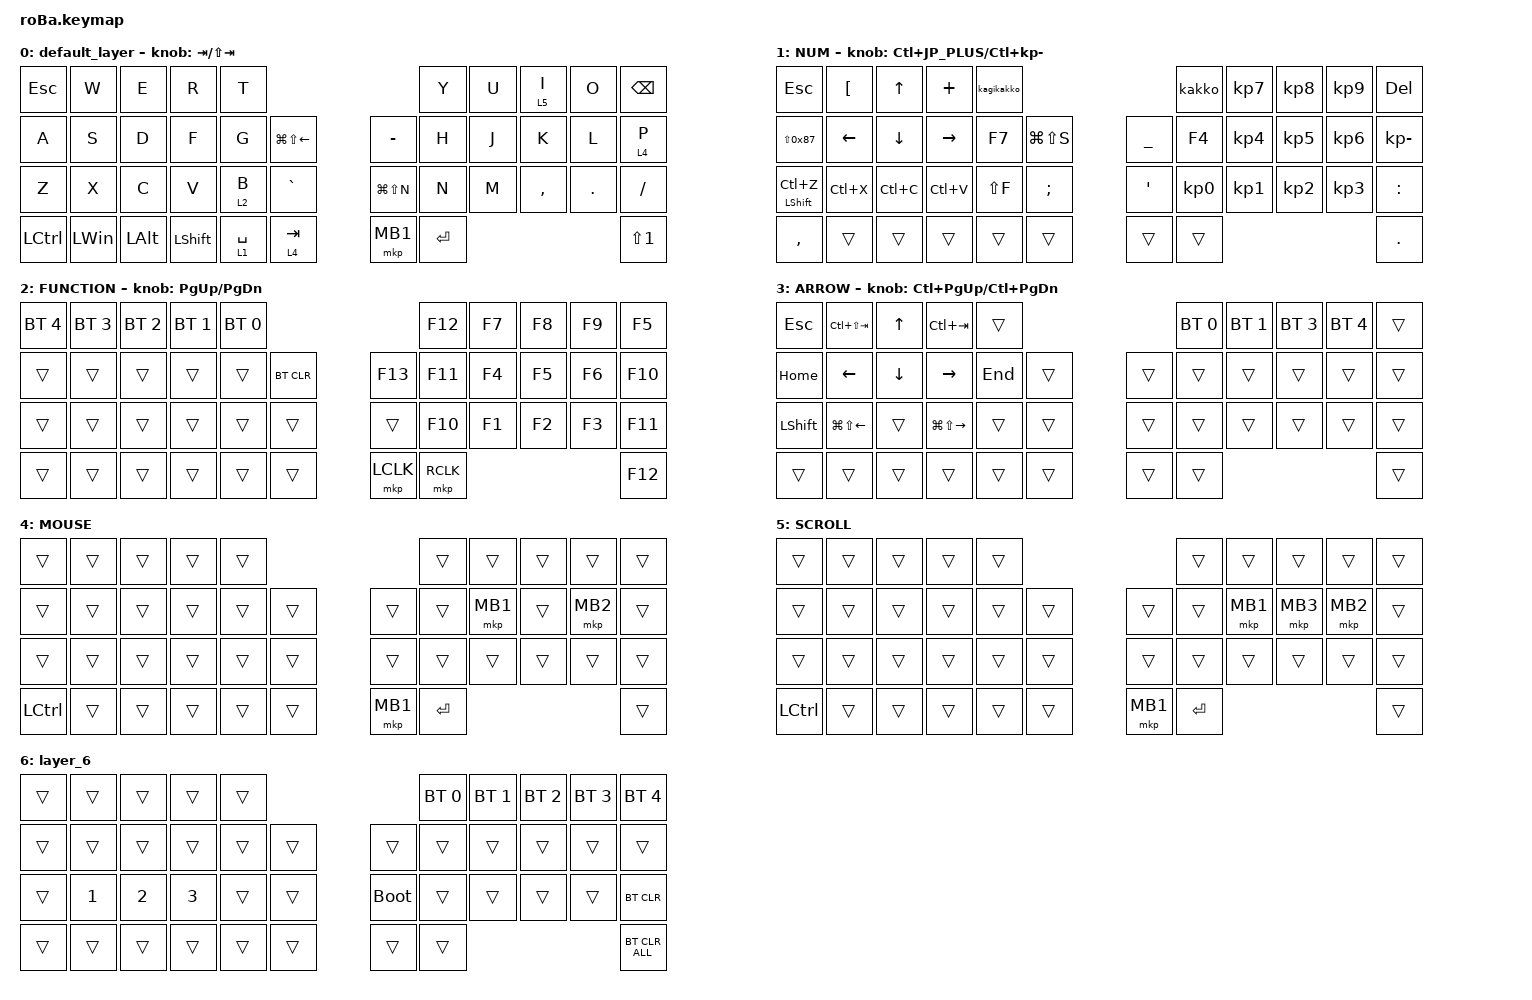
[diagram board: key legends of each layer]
#include <behaviors.dtsi>
#include <dt-bindings/zmk/bt.h>
#include <dt-bindings/zmk/keys.h>
#include <dt-bindings/zmk/pointing.h>
#include <input/processors.dtsi>
#include <zephyr/dt-bindings/input/input-event-codes.h>

#define JP_UNDERSCORE   LS(0x87)
#define JP_COLON        SINGLE_QUOTE      // :
#define JP_LBRACKET     RIGHT_BRACKET     // [
#define JP_RBRACKET     BACKSLASH         // ]
#define JP_LPAREN       ASTERISK          // (
#define JP_RPAREN       LEFT_PARENTHESIS  // )
#define JP_HANZEN       GRAVE             // 半角/全角
#define JP_PLUS         COLON             // +
#define JP_TILDE        PLUS              // ~
#define JP_AT           LEFT_BRACKET      // @
#define JP_YEN          0x89              // ¥
#define JP_EQUAL        UNDER             // =

/ {
    /omit-if-no-ref/ zip_temp_layer: zip_temp_layer {
        compatible = "zmk,input-processor-temp-layer";
        #input-processor-cells = <2>;
        require-prior-idle-ms = <2000>;
        excluded-positions = <1 2 3>;
    };
};


&mt {
    flavor = "balanced";
    quick-tap-ms = <0>;
};

&trackball {
    // automouse-layer = <4>;
    scroll-layers = <5>;

    // arrows {
    //     layers = <3>;
    //     bindings =
    //         <&kp RIGHT_ARROW>,
    //         <&kp LEFT_ARROW>,
    //         <&kp UP_ARROW>,
    //         <&kp DOWN_ARROW>;
    //     tick = <10>;
    //     wait-ms = <5>;
    //     tap-ms = <5>;
    // };
};

/ {
    combos {
        compatible = "zmk,combos";

        tab {
            bindings = <&kp Q>;
            key-positions = <0 1>;
        };

        shift_tab {
            bindings = <&kp TAB>;
            key-positions = <12 13>;
        };

        double_quotation {
            bindings = <&kp MINUS>;
            key-positions = <20 21>;
        };

        eq {
            bindings = <&kp EQUAL>;
            key-positions = <24 25>;
        };
    };

    macros {
        kakko: kakko {
            compatible = "zmk,behavior-macro";
            #binding-cells = <0>;
            bindings = <&kp ASTRK &kp LEFT_PARENTHESIS>;
            label = "KAKKO";
        };

        kagikakko: kagikakko {
            compatible = "zmk,behavior-macro";
            #binding-cells = <0>;
            bindings = <&kp RIGHT_BRACKET &kp BACKSLASH>;
            label = "KAGIKAKKO";
        };
    };

    behaviors {
        scroll_up_down: mouse_up_down {
            compatible = "zmk,behavior-sensor-rotate";
            #sensor-binding-cells = <0>;
            bindings = <&msc SCRL_UP>, <&msc SCRL_DOWN>;

            tap-ms = <20>;
        };

        scroll_left_right: mouse_wheel_left_right {
            compatible = "zmk,behavior-sensor-rotate";
            #sensor-binding-cells = <0>;
            bindings = <&msc SCRL_LEFT>, <&msc SCRL_RIGHT>;

            tap-ms = <20>;
        };

        lt_to_layer_0: lt_to_layer_0 {
            compatible = "zmk,behavior-hold-tap";
            label = "LT_TO_LAYER_0";
            bindings = <&mo>, <&none>;

            #binding-cells = <2>;
            tapping-term-ms = <200>;
        };
    };

    keymap {
        compatible = "zmk,keymap";

        default_layer {
            bindings = <
&kp ESC    &kp W         &kp E         &kp R           &kp T                                                   &kp Y      &kp U  &lt 5 I    &kp O    &kp BACKSPACE
&kp A      &kp S         &kp D         &kp F           &kp G        &kp LG(LS(LEFT_ARROW))      &kp MINUS      &kp H      &kp J  &kp K      &kp L    &lt 4 P
&kp Z      &kp X         &kp C         &kp V           &lt 2 B      &kp JP_HANZEN               &kp LG(LS(N))  &kp N      &kp M  &kp COMMA  &kp DOT  &kp SLASH
&kp LCTRL  &kp LEFT_WIN  &kp LEFT_ALT  &kp LEFT_SHIFT  &lt 1 SPACE  &lt 4 TAB                   &mkp MB1       &kp ENTER                             &kp LS(NUMBER_1)
            >;

            sensor-bindings = <&inc_dec_kp TAB LS(TAB)>;
        };

        NUM {
            bindings = <
&kp ESCAPE            &kp JP_AT       &kp UP          &kp JP_TILDE     &kagikakko                                   &kakko           &kp KP_NUMBER_7  &kp KP_NUMBER_8  &kp KP_NUMBER_9  &kp DEL
&kp JP_UNDERSCORE     &kp LEFT_ARROW  &kp DOWN_ARROW  &kp RIGHT_ARROW  &kp F7      &kp LG(LS(S))      &kp JP_EQUAL  &kp F4           &kp KP_NUMBER_4  &kp KP_NUMBER_5  &kp KP_NUMBER_6  &kp KP_MINUS
&mt LEFT_SHIFT LC(Z)  &kp LC(X)       &kp LC(C)       &kp LC(V)        &kp LS(F)   &kp SEMICOLON      &kp JP_COLON  &kp KP_NUMBER_0  &kp KP_NUMBER_1  &kp KP_NUMBER_2  &kp KP_NUMBER_3  &kp JP_PLUS
&kp COMMA             &trans          &trans          &trans           &trans      &trans             &trans        &trans                                                              &kp PERIOD
            >;

            sensor-bindings = <&inc_dec_kp LC(JP_PLUS) LC(KP_MINUS)>;
        };

        FUNCTION {
            bindings = <
&bt BT_SEL 4  &bt BT_SEL 3  &bt BT_SEL 2  &bt BT_SEL 1  &bt BT_SEL 0                             &kp F12    &kp F7  &kp F8  &kp F9  &kp F5
&trans        &trans        &trans        &trans        &trans        &bt BT_CLR      &kp F13    &kp F11    &kp F4  &kp F5  &kp F6  &kp F10
&trans        &trans        &trans        &trans        &trans        &trans          &trans     &kp F10    &kp F1  &kp F2  &kp F3  &kp F11
&trans        &trans        &trans        &trans        &trans        &trans          &mkp LCLK  &mkp RCLK                          &kp F12
            >;

            sensor-bindings = <&inc_dec_kp PAGE_UP PAGE_DOWN>;
        };

        ARROW {
            bindings = <
&kp ESCAPE      &kp LC(LS(TAB))         &kp UP_ARROW    &kp LC(TAB)              &trans                       &bt BT_SEL 0  &bt BT_SEL 1  &bt BT_SEL 3  &bt BT_SEL 4  &trans
&kp HOME        &kp LEFT_ARROW          &kp DOWN_ARROW  &kp RIGHT_ARROW          &kp END  &trans      &trans  &trans        &trans        &trans        &trans        &trans
&kp LEFT_SHIFT  &kp LG(LS(LEFT_ARROW))  &trans          &kp LG(LS(RIGHT_ARROW))  &trans   &trans      &trans  &trans        &trans        &trans        &trans        &trans
&trans          &trans                  &trans          &trans                   &trans   &trans      &trans  &trans                                                  &trans
            >;

            sensor-bindings = <&inc_dec_kp LC(PAGE_UP) LC(PAGE_DOWN)>;
        };

        MOUSE {
            bindings = <
&trans     &trans  &trans  &trans  &trans                        &trans     &trans    &trans  &trans    &trans
&trans     &trans  &trans  &trans  &trans  &trans      &trans    &trans     &mkp MB1  &trans  &mkp MB2  &trans
&trans     &trans  &trans  &trans  &trans  &trans      &trans    &trans     &trans    &trans  &trans    &trans
&kp LCTRL  &trans  &trans  &trans  &trans  &trans      &mkp MB1  &kp ENTER                              &trans
            >;
        };

        SCROLL {
            bindings = <
&trans     &trans  &trans  &trans  &trans                        &trans     &trans    &trans    &trans    &trans
&trans     &trans  &trans  &trans  &trans  &trans      &trans    &trans     &mkp MB1  &mkp MB3  &mkp MB2  &trans
&trans     &trans  &trans  &trans  &trans  &trans      &trans    &trans     &trans    &trans    &trans    &trans
&kp LCTRL  &trans  &trans  &trans  &trans  &trans      &mkp MB1  &kp ENTER                                &trans
            >;
        };

        layer_6 {
            bindings = <
&trans  &trans        &trans        &trans        &trans                           &bt BT_SEL 0  &bt BT_SEL 1  &bt BT_SEL 2  &bt BT_SEL 3  &bt BT_SEL 4
&trans  &trans        &trans        &trans        &trans  &trans      &trans       &trans        &trans        &trans        &trans        &trans
&trans  &kp NUMBER_1  &kp NUMBER_2  &kp NUMBER_3  &trans  &trans      &bootloader  &trans        &trans        &trans        &trans        &bt BT_CLR
&trans  &trans        &trans        &trans        &trans  &trans      &trans       &trans                                                  &bt BT_CLR_ALL
            >;
        };
    };
};
